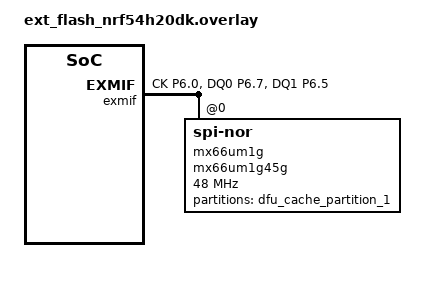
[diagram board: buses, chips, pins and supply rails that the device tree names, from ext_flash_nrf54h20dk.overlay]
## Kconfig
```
#
# Copyright (c) 2023 Nordic Semiconductor ASA
#
# SPDX-License-Identifier: LicenseRef-Nordic-5-Clause
#

config APP_VERSION
  int "Application version"
	default 1

config SUIT_ENVELOPE_SEQUENCE_NUM
  default APP_VERSION

config SUIT_SECDOM_UPDATE_LOG
  bool "Enable Secure Domain logs in update candidate"
  default n

config SUIT_SECDOM_EXTMEM_SUPPORT
  bool "Enable external flash support in SDFW"

config SUIT_BUILD_FLASH_COMPANION
  bool "Enable build of the flash companion firmware"

config SUIT_EXTERNAL_MEMORY_SUPPORT
  bool "Enable options needed to use external flash during DFU"
  depends on SUIT_DFU_CANDIDATE_PROCESSING_FULL
  imply SUIT_SECDOM_EXTMEM_SUPPORT
  imply SUIT_BUILD_FLASH_COMPANION
  imply SUIT_STREAM_SOURCE_FLASH


source "Kconfig.zephyr"
```

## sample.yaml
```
#
# Copyright (c) 2023 Nordic Semiconductor ASA
#
# SPDX-License-Identifier: LicenseRef-Nordic-5-Clause
#

sample:
  name: SUIT update through SMP sample
  description: Sample application that updates firmware using SUIT and SMP protocol
tests:
  subsys.suit.smp_transfer.nrf54h20.fpga.v1:
    extra_args: DTC_OVERLAY_FILE="boards/nrf54h20dk_nrf54h20_cpuapp_fpga.overlay"
    extra_configs:
      - CONFIG_EMULATOR_FPGA=y
      - CONFIG_APP_VERSION=1
      - CONFIG_SUIT_ENVELOPE_EDITABLE_TEMPLATES_LOCATION="./"
      - CONFIG_UART_NRFX_LEGACY_SHIM=y
    platform_allow: nrf54h20dk_nrf54h20_cpuapp@soc1 nrf54h20dk_nrf54h20_cpuapp
    build_only: true
    tags: suit fpga

  subsys.suit.smp_transfer.nrf54h20.fpga.v2:
    extra_args: DTC_OVERLAY_FILE="boards/nrf54h20dk_nrf54h20_cpuapp_fpga.overlay"
    extra_configs:
      - CONFIG_EMULATOR_FPGA=y
      - CONFIG_APP_VERSION=2
      - CONFIG_SUIT_ENVELOPE_EDITABLE_TEMPLATES_LOCATION="./"
      - CONFIG_UART_NRFX_LEGACY_SHIM=y
    platform_allow: nrf54h20dk_nrf54h20_cpuapp@soc1 nrf54h20dk_nrf54h20_cpuapp
    build_only: true
    tags: suit fpga

  subsys.suit.smp_transfer.v1:
    extra_configs:
      - CONFIG_APP_VERSION=1
      - CONFIG_SUIT_ENVELOPE_EDITABLE_TEMPLATES_LOCATION="./"
    platform_allow: nrf54h20dk_nrf54h20_cpuapp@soc1 nrf54h20dk_nrf54h20_cpuapp
    build_only: true
    tags: suit

  subsys.suit.smp_transfer.root_with_nordic_top.v1:
    extra_configs:
      - CONFIG_APP_VERSION=1
      - CONFIG_EMULATOR_FPGA=y
      - CONFIG_SUIT_ENVELOPE_EDITABLE_TEMPLATES_LOCATION="./"
      - CONFIG_UART_NRFX_LEGACY_SHIM=y
      - CONFIG_SUIT_SECDOM_UPDATE_LOG=y
    extra_args: DTC_OVERLAY_FILE="boards/nrf54h20dk_nrf54h20_cpuapp_fpga.overlay"
    platform_allow: nrf54h20dk_nrf54h20_cpuapp
    build_only: true
    tags: suit suit_root_with_nordic_top

  subsys.suit.smp_transfer.root_with_nordic_top.v2:
    extra_configs:
      - CONFIG_APP_VERSION=2
      - CONFIG_EMULATOR_FPGA=y
      - CONFIG_SUIT_ENVELOPE_EDITABLE_TEMPLATES_LOCATION="./"
      - CONFIG_UART_NRFX_LEGACY_SHIM=y
      - CONFIG_SUIT_SECDOM_UPDATE_LOG=y
    extra_args: DTC_OVERLAY_FILE="boards/nrf54h20dk_nrf54h20_cpuapp_fpga.overlay"
    platform_allow: nrf54h20dk_nrf54h20_cpuapp
    build_only: true
    tags: suit suit_root_with_nordic_top

  subsys.suit.smp_transfer.root_with_nordic_top.pdk.v1:
    extra_configs:
      - CONFIG_APP_VERSION=1
      - CONFIG_SUIT_ENVELOPE_EDITABLE_TEMPLATES_LOCATION="./"
      - CONFIG_SUIT_SECDOM_UPDATE_LOG=y
    platform_allow: nrf54h20dk_nrf54h20_cpuapp
    build_only: true
    tags: suit suit_root_with_nordic_top_pdk

  subsys.suit.smp_transfer.root_with_nordic_top.pdk.v2:
    extra_configs:
      - CONFIG_APP_VERSION=2
      - CONFIG_SUIT_ENVELOPE_EDITABLE_TEMPLATES_LOCATION="./"
      - CONFIG_SUIT_SECDOM_UPDATE_LOG=y
    platform_allow: nrf54h20dk_nrf54h20_cpuapp
    build_only: true
    tags: suit suit_root_with_nordic_top_pdk

  subsys.suit.smp_transfer.bt.v1:
    extra_args: OVERLAY_CONFIG="overlay-bt.conf"
    extra_configs:
      - CONFIG_APP_VERSION=1
      - CONFIG_SUIT_ENVELOPE_EDITABLE_TEMPLATES_LOCATION="./"
    platform_allow: nrf54h20dk_nrf54h20_cpuapp@soc1 nrf54h20dk_nrf54h20_cpuapp
    build_only: true
    tags: suit bluetooth

  subsys.suit.smp_transfer.v2:
    extra_configs:
      - CONFIG_APP_VERSION=2
      - CONFIG_SUIT_ENVELOPE_EDITABLE_TEMPLATES_LOCATION="./"
    platform_allow: nrf54h20dk_nrf54h20_cpuapp@soc1 nrf54h20dk_nrf54h20_cpuapp
    build_only: true
    tags: suit

  subsys.suit.smp_transfer.bt.v2:
    extra_args: OVERLAY_CONFIG="overlay-bt.conf"
    extra_configs:
      - CONFIG_APP_VERSION=2
      - CONFIG_SUIT_ENVELOPE_EDITABLE_TEMPLATES_LOCATION="./"
    platform_allow: nrf54h20dk_nrf54h20_cpuapp@soc1 nrf54h20dk_nrf54h20_cpuapp
    build_only: true
    tags: suit bluetooth

  subsys.suit.smp_transfer.bt.nrf54h20.fpga.v1:
    extra_args:
      OVERLAY_CONFIG="overlay-bt.conf"
      DTC_OVERLAY_FILE="boards/nrf54h20dk_nrf54h20_cpuapp_fpga.overlay"
      hci_rpmsg_CONFIG_EMULATOR_FPGA=y
    extra_configs:
      - CONFIG_EMULATOR_FPGA=y
      - CONFIG_APP_VERSION=1
      - CONFIG_SUIT_ENVELOPE_EDITABLE_TEMPLATES_LOCATION="./"
    platform_allow: nrf54h20dk_nrf54h20_cpuapp@soc1
    build_only: true
    tags: suit bluetooth fpga

  subsys.suit.smp_transfer.bt.nrf54h20.fpga.v2:
    extra_args:
      OVERLAY_CONFIG="overlay-bt.conf"
      DTC_OVERLAY_FILE="boards/nrf54h20dk_nrf54h20_cpuapp_fpga.overlay"
      hci_rpmsg_CONFIG_EMULATOR_FPGA=y
    extra_configs:
      - CONFIG_EMULATOR_FPGA=y
      - CONFIG_APP_VERSION=2
      - CONFIG_SUIT_ENVELOPE_EDITABLE_TEMPLATES_LOCATION="./"
    platform_allow: nrf54h20dk_nrf54h20_cpuapp@soc1
    build_only: true
    tags: suit bluetooth fpga

  subsys.suit.smp_transfer.full.v1:
    extra_configs:
      - CONFIG_APP_VERSION=1
      - CONFIG_SUIT_ENVELOPE_EDITABLE_TEMPLATES_LOCATION="./"
      - CONFIG_SUIT_DFU_CANDIDATE_PROCESSING_FULL=y
    platform_allow: nrf54h20dk_nrf54h20_cpuapp@soc1 nrf54h20dk_nrf54h20_cpuapp
    build_only: true
    tags: suit

  subsys.suit.smp_transfer.full.v2:
    extra_configs:
      - CONFIG_APP_VERSION=2
      - CONFIG_SUIT_ENVELOPE_EDITABLE_TEMPLATES_LOCATION="./"
      - CONFIG_SUIT_DFU_CANDIDATE_PROCESSING_FULL=y
    platform_allow: nrf54h20dk_nrf54h20_cpuapp@soc1 nrf54h20dk_nrf54h20_cpuapp
    build_only: true
    tags: suit

  subsys.suit.smp_transfer.full.bt.v1:
    extra_args: OVERLAY_CONFIG="overlay-bt.conf"
    extra_configs:
      - CONFIG_APP_VERSION=1
      - CONFIG_SUIT_ENVELOPE_EDITABLE_TEMPLATES_LOCATION="./"
      - CONFIG_SUIT_DFU_CANDIDATE_PROCESSING_FULL=y
    platform_allow: nrf54h20dk_nrf54h20_cpuapp@soc1 nrf54h20dk_nrf54h20_cpuapp
    build_only: true
    tags: suit bluetooth

  subsys.suit.smp_transfer.full.bt.v2:
    extra_args: OVERLAY_CONFIG="overlay-bt.conf"
    extra_configs:
      - CONFIG_APP_VERSION=2
      - CONFIG_SUIT_ENVELOPE_EDITABLE_TEMPLATES_LOCATION="./"
      - CONFIG_SUIT_DFU_CANDIDATE_PROCESSING_FULL=y
    platform_allow: nrf54h20dk_nrf54h20_cpuapp@soc1 nrf54h20dk_nrf54h20_cpuapp
    build_only: true
    tags: suit bluetooth

  subsys.suit.smp_transfer.extmem.full.v1:
    extra_args:
      OVERLAY_CONFIG="overlay-extmem.conf"
      DTC_OVERLAY_FILE="boards/nrf54h20dk_nrf54h20_cpuapp.overlay;ext_flash_nrf54h20pdk.overlay"
    extra_configs:
      - CONFIG_APP_VERSION=1
      - CONFIG_SUIT_ENVELOPE_EDITABLE_TEMPLATES_LOCATION="./"
      - CONFIG_SUIT_DFU_CANDIDATE_PROCESSING_FULL=y
    platform_allow: nrf54h20dk_nrf54h20_cpuapp@soc1 nrf54h20dk_nrf54h20_cpuapp
    build_only: true
    tags: suit
```

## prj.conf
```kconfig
#
# Copyright (c) 2023 Nordic Semiconductor ASA
#
# SPDX-License-Identifier: LicenseRef-Nordic-5-Clause
#

# Enable DK LED library
CONFIG_DK_LIBRARY=y

# Enable mcumgr
CONFIG_NET_BUF=y
CONFIG_ZCBOR=y
CONFIG_MCUMGR=y
CONFIG_MCUMGR_SMP_LEGACY_RC_BEHAVIOUR=y

# Enable the serial mcumgr transport
CONFIG_SERIAL=y
CONFIG_CONSOLE=y
CONFIG_BASE64=y
CONFIG_MCUMGR_TRANSPORT_UART=y

# Enable SUIT services
CONFIG_SUIT=y
CONFIG_MGMT_SUITFU=y
CONFIG_FLASH=y

# Enable SUIT envelope creation
CONFIG_SUIT_ENVELOPE=y

# Extended SUIT commands over USER group
CONFIG_MGMT_SUITFU_GRP_SUIT=y
```

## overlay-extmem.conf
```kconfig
#
# Copyright (c) 2024 Nordic Semiconductor ASA
#
# SPDX-License-Identifier: LicenseRef-Nordic-5-Clause
#

# Enable full SUIT processing in application domain
CONFIG_SUIT_DFU_CANDIDATE_PROCESSING_FULL=y

# Enable external memory support in the system
CONFIG_SUIT_EXTERNAL_MEMORY_SUPPORT=y

# Use envelope without integrated application firmware payload
CONFIG_SUIT_ENVELOPE_APP_TEMPLATE="./templates/app_fetch_envelope.yaml.jinja2"
CONFIG_SUIT_ENVELOPE_ROOT_TEMPLATE="./templates/root_hierarchical_envelope.yaml.jinja2"
```

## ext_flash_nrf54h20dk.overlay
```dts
/*
 * Copyright (c) 2024 Nordic Semiconductor ASA
 *
 * SPDX-License-Identifier: LicenseRef-Nordic-5-Clause
 */

 / {
	aliases {
		spi-flash0 = &mx66um1g;
	};
};

&gpio6 {
	status = "okay";
};

&pinctrl {
	exmif_default: exmif_default {
		group1 {
			psels = <NRF_PSEL(EXMIF_CK, 6, 0)>,
				<NRF_PSEL(EXMIF_DQ0, 6, 7)>,
				<NRF_PSEL(EXMIF_DQ1, 6, 5)>;
			nordic,drive-mode = <NRF_DRIVE_H0H1>;
		};
	};
};

&exmif {
	status = "okay";
	cs-gpios = <&gpio6 3 GPIO_ACTIVE_LOW>;
	pinctrl-0 = <&exmif_default>;
	pinctrl-names = "default";

	mx66um1g: mx66um1g45g@0 {
		compatible = "jedec,spi-nor";
		reg = <0>;
		spi-max-frequency = <DT_FREQ_M(48)>;
		jedec-id = [c2 80 3b];
		sfdp-bfp = [
			e5 20 8a ff  ff ff ff 3f  00 ff 00 ff  00 ff 00 ff
			ee ff ff ff  ff ff 00 ff  ff ff 00 ff  0c 20 10 d8
			00 ff 00 ff  87 79 01 00  82 12 00 e2  cc 02 67 38
			30 b0 30 b0  f4 bd d5 5c  00 00 00 ff  10 10 00 20
			00 00 00 00  00 00 7c a3  48 00 00 00  00 00 88 88
		];
		size = <1073741824>;
		has-dpd;
		t-enter-dpd = <10000>;
		t-exit-dpd = <30000>;

		partitions {
			compatible = "fixed-partitions";
			#address-cells = <1>;
			#size-cells = <1>;

			dfu_cache_partition_1: partition@0 {
				reg = <0x0 DT_SIZE_K(512)>;
			};
		};
	};
};
```

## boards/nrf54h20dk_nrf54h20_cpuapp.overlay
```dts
/*
 * Copyright (c) 2023 Nordic Semiconductor ASA
 *
 * SPDX-License-Identifier: LicenseRef-Nordic-5-Clause
 */
#include <zephyr/dt-bindings/mbox/nrf-ids.h>
#include <common/nordic_nrf_next/nrfx_ram3x_dma.dtsi>


 / {
	allocatable_ram {
		#address-cells = <1>;
		#size-cells = <1>;

		/* Allow to use defined RAM3x region by App and cores owned by
		 * App, including UART DMA buffer.
		 */
		ram3x_app: memory@2fc00000 {
			compatible = "nordic,allocatable-ram";
			reg = <0x2fc00000 DT_SIZE_K(32)>;
			perm-read;
			perm-write;
		};
	};

	rng_sim: rng_sim {
		status = "okay";
		compatible = "nordic,entropy-prng";
		label = "ENTROPY_0";
	};

	chosen {
		zephyr,entropy = &rng_sim;
		zephyr,uart-mcumgr = &uart136;
		zephyr,console = &uart136;
	};
};

/* ram3x_cpuapp buffer is used by App core UART driver. */
&ram3x_cpuapp {
	status = "okay";
};

/* Configure SMP UART. */
&uart136 {
	status = "okay";
	memory-regions = <&ram3x_cpuapp>;
};

/delete-node/ &mram1;

&mram_controller {
	mram1: mram@e136000 {
		compatible = "nordic,allocatable-mram", "soc-nv-flash";
		reg = < 0xe136000 DT_SIZE_K(680) >;
		erase-block-size = < 128 >;
		/* Hardcoded inside the soc_flash_nrf_mram.c (MRAM_WORD_SIZE) */
		write-block-size = < 0x10 >;

		perm-read;
		perm-write;

		partitions {
			compatible = "fixed-partitions";
			#address-cells = < 0x1 >;
			#size-cells = < 0x1 >;

			/* The default application code partition ends at 0xe126000.
			 * If the application uses PPR, it extends the code partition to 0xe136000.
			 */
			dfu_partition: partition@136000 {
				label = "dfu_partition";
				reg = < 0x136000 DT_SIZE_K(656) >;
			};

			storage_partition: partition@1da000 {
				label = "storage";
				reg = < 0x1da000 DT_SIZE_K(24) >;
			};
		};
	};
};

&ipc_to_cpusec {
	status = "okay";
};

&mram0 {
	partitions {
		compatible = "fixed-partitions";
		#address-cells = < 0x1 >;
		#size-cells = < 0x1 >;
		slot0_partition: partition@a6000 {
			label = "image-0";
			reg = <0xa6000 DT_SIZE_K(448)>;
		};
		companion_partition: partition@116000 {
			label = "companion-image";
			reg = <0x116000 DT_SIZE_K(64)>;
		};
	};
};
```

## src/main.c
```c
/*
 * Copyright (c) 2023 Nordic Semiconductor ASA
 *
 * SPDX-License-Identifier: LicenseRef-Nordic-5-Clause
 */

#include <zephyr/kernel.h>
#include <dk_buttons_and_leds.h>
#ifdef CONFIG_MGMT_SUITFU
#include <suitfu_mgmt.h>
#endif /* CONFIG_MGMT_SUITFU */
#include <zephyr/storage/flash_map.h>
#include "common.h"

#ifdef CONFIG_SSF_SUIT_SERVICE_ENABLED
#include <sdfw/sdfw_services/suit_service.h>
#endif /* CONFIG_SSF_SUIT_SERVICE_ENABLED */

#define DFU_PARTITION_OFFSET  FIXED_PARTITION_OFFSET(dfu_partition)
#define DFU_PARTITION_SIZE    FIXED_PARTITION_SIZE(dfu_partition)
#define DFU_PARTITION_ADDRESS suit_plat_mem_nvm_ptr_get(DFU_PARTITION_OFFSET)

int main(void)
{
	int ret = dk_leds_init();
	if (ret) {
		printk("Cannot init LEDs (err: %d)\r\n", ret);
	}

	printk("Hello world from %s version: %d\r\n", CONFIG_BOARD, CONFIG_APP_VERSION);

#if (CONFIG_SSF_SUIT_SERVICE_ENABLED) && (CONFIG_APP_VERSION == 1) && (!CONFIG_MGMT_SUITFU)
	suit_plat_mreg_t update_candidate[] = {
		{
			.mem = DFU_PARTITION_ADDRESS,
			.size = DFU_PARTITION_SIZE,
		},
	};

	printk("Validate candidate: %p (0x%x)\r\n", update_candidate[0].mem,
	       update_candidate[0].size);
	bool dfu_partition_valid =
		suit_validate_candidate(update_candidate[0].mem, update_candidate[0].size);

	printk("DFU update candidate found in DFU partition: %d\r\n", dfu_partition_valid);
	if (dfu_partition_valid) {
		int ret = suit_trigger_update(update_candidate, ARRAY_SIZE(update_candidate));
		printk("DFU triggered with status: %d\r\n", ret);
	}
#endif

#ifdef CONFIG_MCUMGR_TRANSPORT_BT
	start_smp_bluetooth();
#endif

	while (1) {
		for (int i = 0; i < CONFIG_APP_VERSION; i++) {
			dk_set_led_on(DK_LED1);
			k_msleep(250);
			dk_set_led_off(DK_LED1);
			k_msleep(250);
		}

		k_msleep(5000);
	}

	return 0;
}
```
